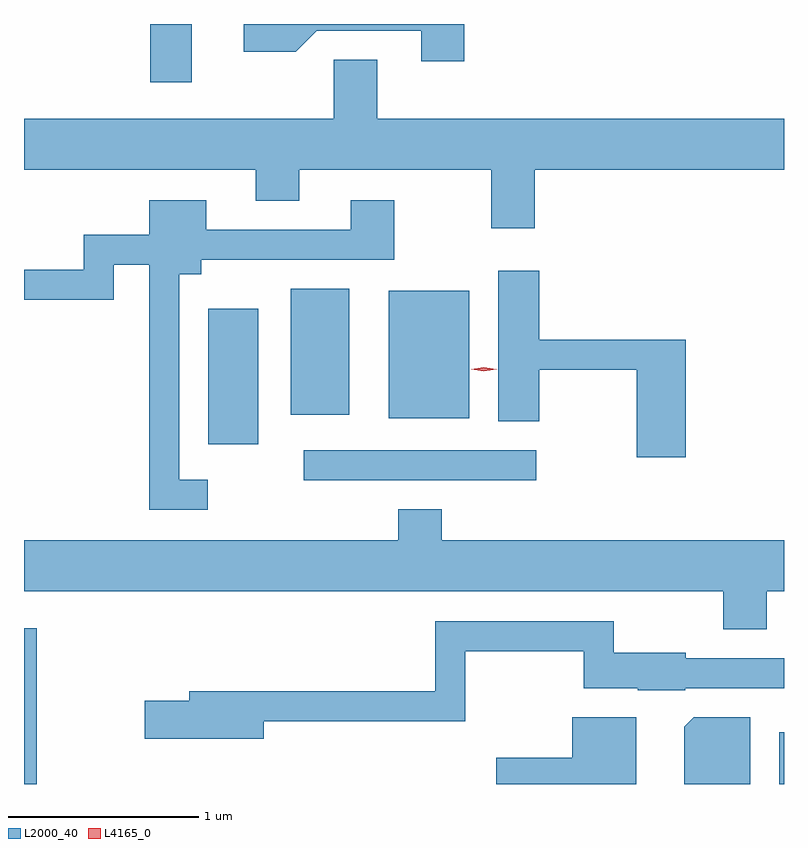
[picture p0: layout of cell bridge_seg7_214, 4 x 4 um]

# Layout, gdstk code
import gdstk
lib = gdstk.Library(unit=1e-6, precision=1e-09)
def R(c, l, rs):  # rectangles x0, y0, x1, y1
    for r in rs: c.add(gdstk.rectangle(r[:2], r[2:], *l))
def P(c, l, *ps):  # polygons
    for p in ps: c.add(gdstk.Polygon(p, *l))
L2000_40 = (2000, 40)
L4165_0 = (4165, 0)

bridge_seg7_214 = lib.new_cell('bridge_seg7_214')
R(bridge_seg7_214, L2000_40, [(1569.571,1693.322,1569.639,1694.143), (1573.546,1693.322,1573.571,1693.594), (1571.043,1694.921,1572.268,1695.079), (1570.541,1695.111,1570.804,1695.824), (1571.491,1695.246,1571.914,1695.919), (1570.976,1695.266,1571.284,1695.929), (1570.236,1697.016,1570.454,1697.322)])
P(bridge_seg7_214, L2000_40, [(1571.889,1697.322),(1570.728,1697.322),(1570.728,1697.176),(1571.002,1697.176),(1571.112,1697.286),(1571.661,1697.286),(1571.661,1697.126),(1571.889,1697.126)],
  [(1572.259,1696.556),(1573.571,1696.556),(1573.571,1696.824),(1571.429,1696.824),(1571.429,1697.134),(1571.201,1697.134),(1571.201,1696.824),(1569.571,1696.824),(1569.571,1696.556),(1570.791,1696.556),(1570.791,1696.391),(1571.019,1696.391),(1571.019,1696.556),(1572.031,1696.556),(1572.031,1696.246),(1572.259,1696.246)],
  [(1570.538,1694.924),(1570.389,1694.924),(1570.389,1696.006),(1570.504,1696.006),(1570.504,1696.081),(1571.519,1696.081),(1571.519,1696.394),(1571.291,1696.394),(1571.291,1696.239),(1570.529,1696.239),(1570.529,1696.394),(1570.231,1696.394),(1570.231,1696.214),(1569.886,1696.214),(1569.886,1696.029),(1569.571,1696.029),(1569.571,1695.871),(1570.044,1695.871),(1570.044,1696.056),(1570.231,1696.056),(1570.231,1694.766),(1570.538,1694.766)],
  [(1573.054,1695.659),(1572.284,1695.659),(1572.284,1696.024),(1572.066,1696.024),(1572.066,1695.231),(1572.284,1695.231),(1572.284,1695.501),(1572.796,1695.501),(1572.796,1695.041),(1573.054,1695.041)],
  [(1573.479,1694.336),(1573.571,1694.336),(1573.571,1694.604),(1571.769,1694.604),(1571.769,1694.769),(1571.541,1694.769),(1571.541,1694.604),(1569.571,1694.604),(1569.571,1694.336),(1573.251,1694.336),(1573.251,1694.136),(1573.479,1694.136)],
  [(1570.834,1693.651),(1571.894,1693.651),(1571.894,1694.021),(1572.516,1694.021),(1572.516,1693.826),(1572.8,1693.826),(1572.8,1693.816),(1573.05,1693.816),(1573.05,1693.826),(1573.571,1693.826),(1573.571,1693.984),(1573.054,1693.984),(1573.054,1694.014),(1572.674,1694.014),(1572.674,1694.179),(1571.736,1694.179),(1571.736,1693.809),(1570.441,1693.809),(1570.441,1693.759),(1570.206,1693.759),(1570.206,1693.561),(1570.834,1693.561)],
  [(1572.794,1693.674),(1572.456,1693.674),(1572.456,1693.459),(1572.056,1693.459),(1572.056,1693.322),(1572.794,1693.322)],
  [(1573.394,1693.674),(1573.097,1693.674),(1573.046,1693.624),(1573.046,1693.322),(1573.394,1693.322)])
P(bridge_seg7_214, L4165_0, [(1571.992,1695.495),(1571.926,1695.505),(1571.925,1695.505),(1571.926,1695.506),(1571.992,1695.515),(1572.058,1695.506),(1572.059,1695.505),(1572.058,1695.505)])

lib.write_gds('bridge_seg7_214.gds')
